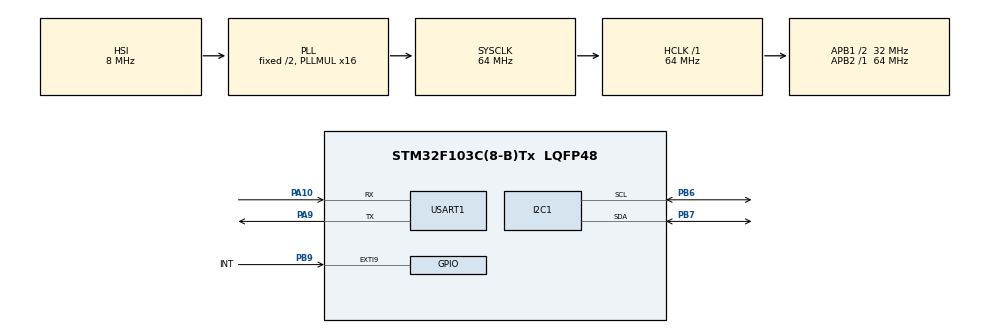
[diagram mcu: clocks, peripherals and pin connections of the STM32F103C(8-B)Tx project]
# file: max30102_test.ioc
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I2C1.I2C_Mode=I2C_Fast
Mcu.Family=STM32F1
Mcu.Name=STM32F103C(8-B)Tx
Mcu.Package=LQFP48
NVIC.EXTI9_5_IRQn=true\:0\:0\:false\:false\:true\:true\:true\:true
NVIC.PriorityGroup=NVIC_PRIORITYGROUP_4
PA10.GPIO_Mode=GPIO_MODE_INPUT
PA10.GPIO_PuPd=GPIO_NOPULL
PA10.Mode=Asynchronous
PA10.Signal=USART1_RX
PA13.Mode=Serial_Wire
PA13.Signal=SYS_JTMS-SWDIO
PA14.Mode=Serial_Wire
PA14.Signal=SYS_JTCK-SWCLK
PA9.Mode=Asynchronous
PA9.Signal=USART1_TX
PB6.GPIO_Mode=GPIO_MODE_AF_OD
PB6.GPIO_Speed=GPIO_SPEED_FREQ_HIGH
PB6.Mode=I2C
PB6.Signal=I2C1_SCL
PB7.GPIO_Mode=GPIO_MODE_AF_OD
PB7.Mode=I2C
PB7.Signal=I2C1_SDA
PB9.GPIO_Label=INT
PB9.GPIO_ModeDefaultEXTI=GPIO_MODE_IT_FALLING
PB9.GPIO_PuPd=GPIO_PULLUP
PB9.Signal=GPXTI9
ProjectManager.HeapSize=0x200
ProjectManager.StackSize=0x400
ProjectManager.TargetToolchain=STM32CubeIDE
RCC.AHBFreq_Value=64000000
RCC.APB1CLKDivider=RCC_HCLK_DIV2
RCC.APB1Freq_Value=32000000
RCC.APB1TimFreq_Value=64000000
RCC.APB2Freq_Value=64000000
RCC.APB2TimFreq_Value=64000000
RCC.HCLKFreq_Value=64000000
RCC.PLLMUL=RCC_PLL_MUL16
RCC.SYSCLKFreq_VALUE=64000000
RCC.SYSCLKSource=RCC_SYSCLKSOURCE_PLLCLK
RCC.USBFreq_Value=64000000
USART1.VirtualMode=VM_ASYNC
board=custom

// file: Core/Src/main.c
/* USER CODE BEGIN Header */
/**
  ******************************************************************************
  * @file           : main.c
  * @brief          : Main program body
  ******************************************************************************
  * @attention
  *
  * Copyright (c) 2025 STMicroelectronics.
  * All rights reserved.
  *
  * This software is licensed under terms that can be found in the LICENSE file
  * in the root directory of this software component.
  * If no LICENSE file comes with this software, it is provided AS-IS.
  *
  ******************************************************************************
  */
/* USER CODE END Header */
#include "main.h"

/* USER CODE BEGIN Includes */
#include <stdio.h>
#include <stdlib.h>
#include <string.h>
#include <stdarg.h>
#include <max30102_for_stm32_hal.h>
/* USER CODE END Includes */

I2C_HandleTypeDef hi2c1;

UART_HandleTypeDef huart1;

/* USER CODE BEGIN PV */
char uart_buf[1024];
max30102_t max30102_obj;
/* USER CODE END PV */

void SystemClock_Config(void);
static void MX_GPIO_Init(void);
static void MX_I2C1_Init(void);
static void MX_USART1_UART_Init(void);

/* USER CODE BEGIN 0 */

// For printf() function
int __io_putchar(int ch) {
	uint8_t temp = ch;
	HAL_UART_Transmit(&huart1, &temp, 1, HAL_MAX_DELAY);
	return ch;
}

void __attribute__((unused))uart_printf(const char *fmt,...){
	va_list args;
	va_start(args, fmt);
	vsnprintf(uart_buf, sizeof(uart_buf), fmt, args);
	va_end(args);
	HAL_UART_Transmit(&huart1, (uint8_t*)uart_buf, strlen(uart_buf), HAL_MAX_DELAY);
}

// Override ham goc do la __weak
void max30102_plot(uint32_t ir_sample, uint32_t red_sample){
	uart_printf("%lu,%lu\n", ir_sample, red_sample);
}

void HAL_GPIO_EXTI_Callback(uint16_t GPIO_Pin){
	if(GPIO_Pin == INT_Pin){
		max30102_interrupt_handler(&max30102_obj);
	}
}

/* USER CODE END 0 */

int main(void)
{

  /* MCU Configuration--------------------------------------------------------*/

  /* Reset of all peripherals, Initializes the Flash interface and the Systick. */
  HAL_Init();

  /* Configure the system clock */
  SystemClock_Config();

  /* Initialize all configured peripherals */
  MX_GPIO_Init();
  MX_I2C1_Init();
  MX_USART1_UART_Init();
  /* USER CODE BEGIN 2 */

  //Initialization
  max30102_init(&max30102_obj, &hi2c1);
  max30102_reset(&max30102_obj);
  HAL_Delay(100);

  max30102_clear_fifo(&max30102_obj);
  max30102_set_fifo_config(&max30102_obj, max30102_smp_ave_4, 1, 7);

  //Sensor settings
  max30102_set_led_pulse_width(&max30102_obj, max30102_pw_16_bit);
  max30102_set_adc_resolution(&max30102_obj, max30102_adc_8192);
  max30102_set_sampling_rate(&max30102_obj, max30102_sr_200);
  max30102_set_led_current_1(&max30102_obj, 6.2);
  max30102_set_led_current_2(&max30102_obj, 6.2);

  //Enter SpO2 mode
  max30102_set_mode(&max30102_obj, max30102_spo2);
  max30102_set_a_full(&max30102_obj, 1);
  max30102_set_ppg_rdy(&max30102_obj, 1);

  //Initialize 1 temperature measurement
  max30102_set_die_temp_en(&max30102_obj, 1);
  max30102_set_die_temp_rdy(&max30102_obj, 1);

  uint8_t en_reg[2] = {0};
  max30102_read(&max30102_obj, 0x00, en_reg, 1);
  /* USER CODE END 2 */

  /* Infinite loop */
  /* USER CODE BEGIN WHILE */
  while (1)
  {
	  //If interrupt flag is active
	  if(max30102_has_interrupt(&max30102_obj)) {
		  //Run interrupt handler to read FIFO
		  max30102_interrupt_handler(&max30102_obj); //max30102_read_fifo() duoc de trong ham nay roi
	  }
    /* USER CODE END WHILE */

    /* USER CODE BEGIN 3 */
//	  max30102_read_fifo(&max30102_obj);
  }
  /* USER CODE END 3 */
}

void SystemClock_Config(void)
{
  RCC_OscInitTypeDef RCC_OscInitStruct = {0};
  RCC_ClkInitTypeDef RCC_ClkInitStruct = {0};

  /** Initializes the RCC Oscillators according to the specified parameters
  * in the RCC_OscInitTypeDef structure.
  */
  RCC_OscInitStruct.OscillatorType = RCC_OSCILLATORTYPE_HSI;
  RCC_OscInitStruct.HSIState = RCC_HSI_ON;
  RCC_OscInitStruct.HSICalibrationValue = RCC_HSICALIBRATION_DEFAULT;
  RCC_OscInitStruct.PLL.PLLState = RCC_PLL_ON;
  RCC_OscInitStruct.PLL.PLLSource = RCC_PLLSOURCE_HSI_DIV2;
  RCC_OscInitStruct.PLL.PLLMUL = RCC_PLL_MUL16;
  if (HAL_RCC_OscConfig(&RCC_OscInitStruct) != HAL_OK)
  {
    Error_Handler();
  }

  /** Initializes the CPU, AHB and APB buses clocks
  */
  RCC_ClkInitStruct.ClockType = RCC_CLOCKTYPE_HCLK|RCC_CLOCKTYPE_SYSCLK
                              |RCC_CLOCKTYPE_PCLK1|RCC_CLOCKTYPE_PCLK2;
  RCC_ClkInitStruct.SYSCLKSource = RCC_SYSCLKSOURCE_PLLCLK;
  RCC_ClkInitStruct.AHBCLKDivider = RCC_SYSCLK_DIV1;
  RCC_ClkInitStruct.APB1CLKDivider = RCC_HCLK_DIV2;
  RCC_ClkInitStruct.APB2CLKDivider = RCC_HCLK_DIV1;

  if (HAL_RCC_ClockConfig(&RCC_ClkInitStruct, FLASH_LATENCY_2) != HAL_OK)
  {
    Error_Handler();
  }
}

static void MX_I2C1_Init(void)
{

  hi2c1.Instance = I2C1;
  hi2c1.Init.ClockSpeed = 400000;
  hi2c1.Init.DutyCycle = I2C_DUTYCYCLE_2;
  hi2c1.Init.OwnAddress1 = 0;
  hi2c1.Init.AddressingMode = I2C_ADDRESSINGMODE_7BIT;
  hi2c1.Init.DualAddressMode = I2C_DUALADDRESS_DISABLE;
  hi2c1.Init.OwnAddress2 = 0;
  hi2c1.Init.GeneralCallMode = I2C_GENERALCALL_DISABLE;
  hi2c1.Init.NoStretchMode = I2C_NOSTRETCH_DISABLE;
  if (HAL_I2C_Init(&hi2c1) != HAL_OK)
  {
    Error_Handler();
  }

}

static void MX_USART1_UART_Init(void)
{

  huart1.Instance = USART1;
  huart1.Init.BaudRate = 115200;
  huart1.Init.WordLength = UART_WORDLENGTH_8B;
  huart1.Init.StopBits = UART_STOPBITS_1;
  huart1.Init.Parity = UART_PARITY_NONE;
  huart1.Init.Mode = UART_MODE_TX_RX;
  huart1.Init.HwFlowCtl = UART_HWCONTROL_NONE;
  huart1.Init.OverSampling = UART_OVERSAMPLING_16;
  if (HAL_UART_Init(&huart1) != HAL_OK)
  {
    Error_Handler();
  }

}

static void MX_GPIO_Init(void)
{
  GPIO_InitTypeDef GPIO_InitStruct = {0};

  /* GPIO Ports Clock Enable */
  __HAL_RCC_GPIOA_CLK_ENABLE();
  __HAL_RCC_GPIOB_CLK_ENABLE();

  /*Configure GPIO pin : INT_Pin */
  GPIO_InitStruct.Pin = INT_Pin;
  GPIO_InitStruct.Mode = GPIO_MODE_IT_FALLING;
  GPIO_InitStruct.Pull = GPIO_PULLUP;
  HAL_GPIO_Init(INT_GPIO_Port, &GPIO_InitStruct);

  /* EXTI interrupt init*/
  HAL_NVIC_SetPriority(EXTI9_5_IRQn, 0, 0);
  HAL_NVIC_EnableIRQ(EXTI9_5_IRQn);

}

void Error_Handler(void)
{
  __disable_irq();
  while (1)
  {
  }
}
